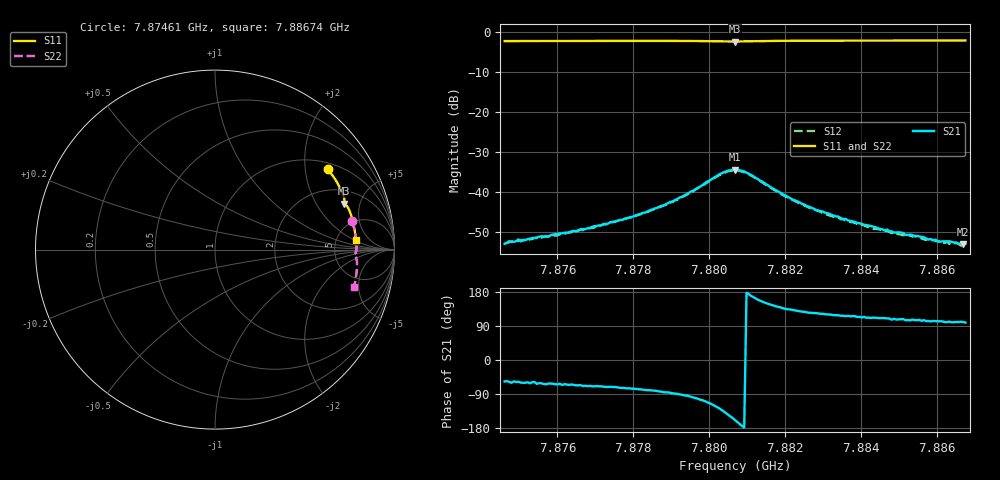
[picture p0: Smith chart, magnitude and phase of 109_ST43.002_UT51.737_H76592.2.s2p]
#  HZ  S  DB  R  50.00
! Rohde & Schwarz Vector Network Analyzer
! Rohde-Schwarz,ZNB20-2Port,1311601062101988,3.16
! Created: UTC 1/12/2023, 6:37:20 PM
! freq[Hz]  db:S11  ang:S11  db:S21  ang:S21  db:S12  ang:S12  db:S22  ang:S22
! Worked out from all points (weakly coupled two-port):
!   201 points, 7.87461 GHz to 7.88674 GHz, reference 50 ohm
!   highest |S21| = -34.41 dB at 7.88068 GHz (marker M1); lowest = -53.0 dB at 7.88668 GHz (marker M2)
!   lowest |S11| = -2.3 dB at 7.88068 GHz (marker M3), VSWR 7.46, Z = 144 + j177 ohm
!   |S11| at or under -10 dB: nowhere
!   |S22| runs from -2.2 to -1.9 dB; largest |S21 - S12| = 0.0013
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7.874611e9  -2.24 35.7  -52.92 -56.5  -52.74 -61.1  -2.15 11.6
7.874975e9  -2.24 34.6  -51.82 -57.5  -52.17 -61.7  -2.14 10.7
7.875035e9  -2.23 34.5  -52.33 -59.6  -52.04 -61.9  -2.13 10.6
7.876673e9  -2.20 30.0  -49.22 -68.9  -49.54 -72.1  -2.09 6.7
7.877704e9  -2.19 27.2  -46.98 -73.5  -46.85 -76.5  -2.07 4.3
7.878675e9  -2.19 24.5  -43.69 -82.8  -43.86 -86.0  -2.06 2.0
7.879402e9  -2.20 22.4  -40.54 -94.1  -40.70 -98.1  -2.07 0.2
7.880252e9  -2.30 20.1  -35.63 -127.0  -35.84 -130.6  -2.15 -1.7
7.880676e9  -2.34 19.6  -34.41 -158.6  -34.57 -162.3  -2.21 -2.1
7.880919e9  -2.32 19.4  -34.83 -178.2  -35.08 178.2  -2.19 -2.2
7.882132e9  -2.16 16.3  -41.55 133.3  -41.77 129.8  -2.01 -4.6
7.882738e9  -2.14 14.7  -44.11 123.8  -44.23 121.1  -1.98 -6.1
7.883466e9  -2.12 12.7  -46.51 116.8  -46.85 113.9  -1.97 -7.7
7.88474e9  -2.10 9.3  -49.79 109.5  -49.96 105.1  -1.94 -10.6
7.88571e9  -2.09 6.8  -51.59 102.5  -51.96 100.1  -1.93 -12.7
7.885771e9  -2.09 6.6  -51.87 102.9  -51.65 101.0  -1.92 -12.9
7.885832e9  -2.09 6.4  -51.74 101.9  -52.18 101.1  -1.92 -13.0
7.886256e9  -2.09 5.3  -52.31 100.1  -52.41 98.2  -1.91 -14.0
7.886378e9  -2.09 5.0  -52.46 99.6  -53.13 98.4  -1.92 -14.2
7.886499e9  -2.09 4.7  -52.60 100.3  -52.71 97.0  -1.92 -14.4
7.886681e9  -2.08 4.2  -52.98 100.4  -53.52 97.2  -1.92 -14.8
7.886741e9  -2.08 4.1  -52.97 98.7  -53.42 98.1  -1.92 -15.0
